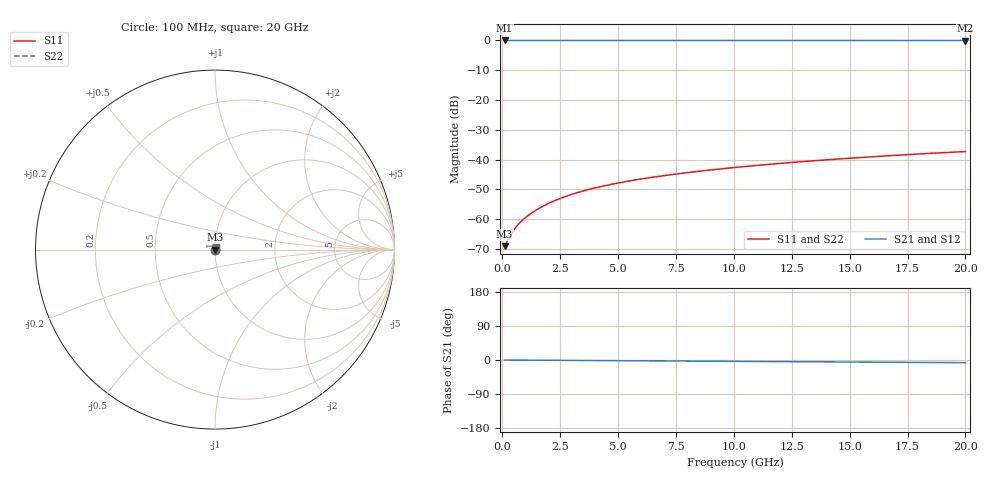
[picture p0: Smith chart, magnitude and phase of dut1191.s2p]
! Touchstone file exported from HFSS 2026.1.0
!  File:  C:/ffzhzh/LocalFiles/Ansys_Project_Files/temp_train_TSV_1191_1783192424_55132.aedt
!  Generated:  03:15:20 AM Jul  5, 2026
!  Design:  TSV
!  Project:  temp_train_TSV_1191_1783192424_55132
! Variables:
!  h_bsmrdl = 2um
!  h_ox = 20um
!  h_rdl = 5um
!  h_sub = 73.7um
!  h_tmrdl = 5um
!  h_tsv = 73.7um
!  h_via = 3um
!  l_bsmrdl = 300um
!  l_sub = 410.72um
!  l_tmrdl = 200um
!  m_sub = 200um
!  pitch = 25.1um
!  r_tsv = 5.36um
!  s_tmrdl = 10um
!  w_bsmrdl = 18um
!  w_sub = 500um
!  w_tmrdl = 12um
!  x_tsv_center1 = 206um
!  x_tsv_center2 = 524um
!  x_tsv_center3 = 736um
!  x_tsv_center4 = 1054um
!  x_tsv_center5 = 1266um
!  x_tsv_center6 = 1584um
# GHz S MA R 50.000000
! Terminal data exported
! Port[1] = TSV1_1_T1
! Port[2] = TSV1_1_T2
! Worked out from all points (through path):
!   200 points, 100 MHz to 20 GHz, reference 50 ohm
!   highest |S21| = 0.00 dB at 100 MHz (marker M1); lowest = 0.0 dB at 20 GHz (marker M2)
!   lowest |S11| = -69.1 dB at 100 MHz (marker M3), VSWR 1.00, Z = 50 + j0.0116 ohm
!   |S11| at or under -10 dB: start of sweep to end of sweep
!   |S22| runs from -69.1 to -37.3 dB; largest |S21 - S12| = 3.3e-15
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0.1  0.0003511 19.3  0.9997 -0.0  0.9997 -0.0  0.0003511 19.3
! Gamma 0 0 0 0
! Port Impedance 50 0 50 0
0.3  0.0004942 42.1  0.9996 -0.1  0.9996 -0.1  0.0004942 42.1
0.4  0.0005787 47.7  0.9996 -0.2  0.9996 -0.2  0.0005787 47.7
0.5  0.0006624 51.5  0.9996 -0.2  0.9996 -0.2  0.0006624 51.5
0.6  0.0007441 54.4  0.9996 -0.2  0.9996 -0.2  0.0007441 54.4
0.7  0.000824 56.7  0.9995 -0.3  0.9995 -0.3  0.000824 56.7
0.9  0.0009806 60.3  0.9995 -0.3  0.9995 -0.3  0.0009806 60.3
1.2  0.001213 64.2  0.9995 -0.4  0.9995 -0.4  0.001213 64.2
1.4  0.001369 66.1  0.9994 -0.5  0.9994 -0.5  0.001369 66.1
1.7  0.001602 68.2  0.9994 -0.6  0.9994 -0.6  0.001602 68.2
2.2  0.001991 70.5  0.9994 -0.8  0.9994 -0.8  0.001991 70.5
2.8  0.00245 72.0  0.9993 -1.0  0.9993 -1.0  0.00245 72.0
3.5  0.002972 73.0  0.9992 -1.3  0.9992 -1.3  0.002972 73.0
4.2  0.003477 73.6  0.9991 -1.5  0.9991 -1.5  0.003477 73.6
5  0.004037 74.0  0.999 -1.8  0.999 -1.8  0.004037 74.0
5.8  0.004583 74.3  0.9989 -2.1  0.9989 -2.1  0.004583 74.3
6.8  0.005251 74.7  0.9988 -2.4  0.9988 -2.4  0.005251 74.7
8.3  0.006235 75.0  0.9987 -3.0  0.9987 -3.0  0.006235 75.0
10.1  0.0074 75.3  0.9985 -3.6  0.9985 -3.6  0.0074 75.3
13.4  0.009512 75.4  0.9983 -4.8  0.9983 -4.8  0.009512 75.4
16.7  0.0116 75.1  0.9981 -5.9  0.9981 -5.9  0.0116 75.1
20  0.01364 74.4  0.9979 -7.1  0.9979 -7.1  0.01364 74.4
